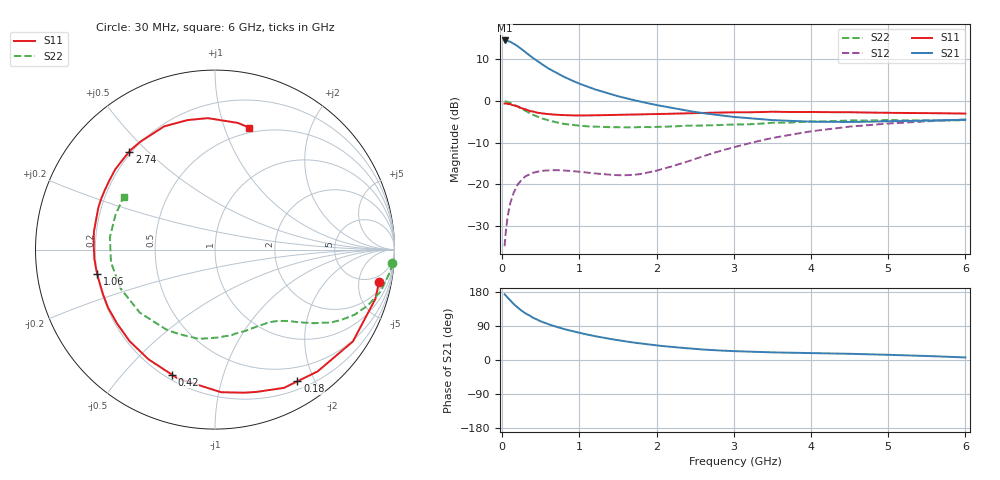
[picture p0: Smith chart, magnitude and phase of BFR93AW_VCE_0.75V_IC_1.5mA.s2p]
! Infineon Technologies  Discrete & RF Semiconductors
! BFR93AW
! VCE = 0.75 V,  IC =  1.5 mA
! Common Emitter S-Parameters:  Nov 2015
# GHz  S  MA  R  50
!  f  S11  S21  S12  S22
! GHz  MAG  ANG  MAG  ANG  MAG  ANG  MAG  ANG
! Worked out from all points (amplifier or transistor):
!   206 points, 30 MHz to 6 GHz, reference 50 ohm
!   highest |S21| = 14.5 dB at 30 MHz (marker M1)
!   |S21| within 3 dB of that: start of sweep to 312.9 MHz
!   unconditionally stable (mu >= 1): 1.267 GHz to 2.788 GHz; 4.577 GHz to end of sweep
!   at 200 MHz: K = 0.15, MSG = 16.6 dB, |S12| = -20.1 dB
!   at 1.56 GHz: K = 1.21, MAG = 6.6 dB, |S12| = -17.8 dB
!   at 6 GHz: K = 1.03, MAG = -1.1 dB, |S12| = -4.4 dB
!   S11 on the Smith chart (normalised r, x): 30 MHz: 3.29, -9.01; 180 MHz: 0.30, -1.76; 420 MHz: 0.23, -0.69; 1.06 GHz: 0.20, -0.10; 2.74 GHz: 0.19, +0.44; 6 GHz: 0.45, +1.22
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0.03  0.9316 -11.2  5.335 173.3  0.018 84.0  0.9912 -4.4
0.06  0.9263 -20.4  5.282 166.5  0.035 77.5  0.9761 -8.5
0.1  0.9231 -33.7  5.179 157.8  0.0575 71.6  0.9531 -14.1
0.15  0.8874 -49.9  4.879 147.2  0.0798 62.1  0.9075 -20.0
0.18  0.8656 -58.0  4.667 142.0  0.0912 57.4  0.8772 -22.9
0.2  0.8609 -63.5  4.548 138.3  0.099 54.8  0.8583 -25.0
0.26  0.8137 -78.5  4.123 128.7  0.115 47.5  0.7967 -29.7
0.3  0.7951 -87.6  3.861 123.1  0.1243 43.7  0.7608 -32.3
0.42  0.7367 -109.1  3.174 109.6  0.1387 34.5  0.6694 -37.7
0.5  0.7147 -121.2  2.821 101.8  0.1446 29.8  0.623 -40.6
0.6  0.6977 -133.0  2.452 94.1  0.1469 26.1  0.5831 -43.2
0.7  0.6838 -142.8  2.181 87.6  0.1477 23.6  0.5544 -45.8
0.82  0.6761 -152.7  1.91 80.6  0.1458 21.6  0.5273 -49.1
1.04  0.6696 -167.1  1.562 69.8  0.1399 20.9  0.5007 -54.9
1.06  0.6698 -168.3  1.537 68.9  0.1393 21.0  0.4989 -55.6
1.5  0.6819 171.4  1.139 52.3  0.1281 30.2  0.4842 -69.2
2.02  0.6972 152.4  0.886 37.9  0.1474 49.2  0.49 -87.5
2.74  0.7243 131.3  0.688 26.0  0.2378 60.1  0.5114 -113.3
3.1  0.7307 122.0  0.632 22.8  0.2939 58.2  0.5223 -125.5
4.1  0.7355 100.2  0.563 17.8  0.4431 45.2  0.5687 -160.8
5.1  0.719 84.6  0.572 13.1  0.542 29.8  0.5871 170.9
6  0.7059 74.3  0.595 6.7  0.5992 18.0  0.5879 149.9
